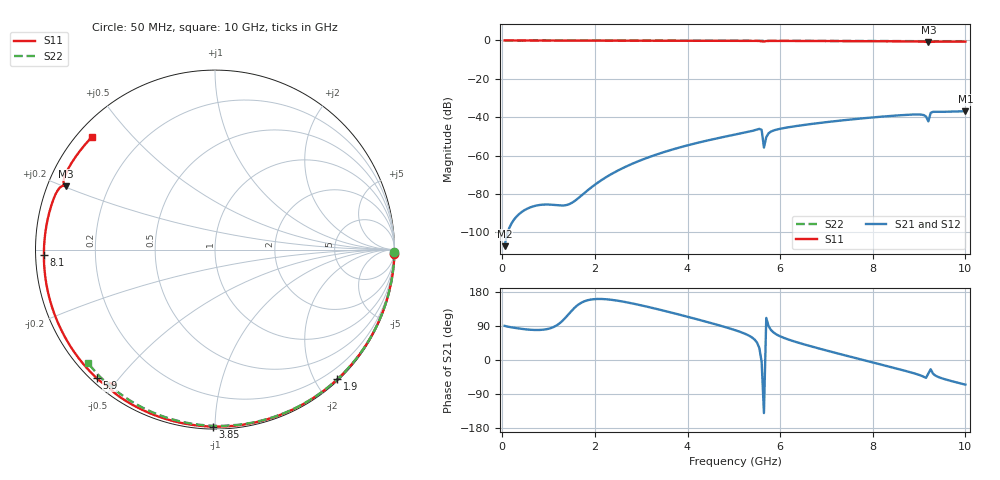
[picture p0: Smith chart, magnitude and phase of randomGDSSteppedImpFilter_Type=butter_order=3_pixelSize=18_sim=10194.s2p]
! freq	dB(S11)	phase(S11)	dB(S12)	phase(S12)
!  dB(S21)	phase(S21)	dB(S22)	phase(S22)
!S-par simulation data
#  GHz  S  DB  R 50
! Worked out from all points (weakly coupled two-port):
!   200 points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, 50 MHz to 10 GHz, reference 50 ohm
!   highest |S21| = -36.88 dB at 10 GHz (marker M1); lowest = -107.2 dB at 50 MHz (marker M2)
!   lowest |S11| = -0.9 dB at 9.2 GHz (marker M3), VSWR 19.46, Z = 2.68 + j10.1 ohm
!   |S11| at or under -10 dB: nowhere
!   |S22| runs from -0.5 to 0.0 dB; largest |S21 - S12| = 0
!   S11 on the Smith chart (normalised r, x): 50 MHz: 0, -90; 1.9 GHz: 0.02, -2.32; 3.85 GHz: 0.01, -0.99; 5.9 GHz: 0.02, -0.44; 8.1 GHz: 0.02, -0.02; 10 GHz: 0.04, +0.39
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0.05  -0.00 -1.3  -107.22 90.1  -107.22 90.1  -0.00 -0.8
0.85  -0.03 -21.2  -85.62 79.6  -85.62 79.6  -0.02 -13.5
1.75  -0.05 -43.1  -79.99 153.7  -79.99 153.7  -0.04 -27.6
1.9  -0.06 -46.7  -77.02 159.3  -77.02 159.3  -0.04 -29.9
2.55  -0.08 -61.9  -67.14 155.3  -67.14 155.3  -0.05 -39.8
3.4  -0.11 -81.0  -58.89 132.7  -58.89 132.7  -0.07 -52.5
3.85  -0.12 -90.8  -55.64 118.9  -55.64 118.9  -0.08 -59.0
5.05  -0.18 -116.0  -48.95 77.9  -48.95 77.9  -0.12 -75.9
5.6  -0.47 -128.4  -46.56 -4.6  -46.56 -4.6  -0.14 -83.4
5.65  -0.56 -127.0  -55.83 -140.1  -55.83 -140.1  -0.15 -84.0
5.7  -0.32 -127.8  -50.41 111.1  -50.41 111.1  -0.15 -84.7
5.75  -0.26 -129.2  -48.38 89.3  -48.38 89.3  -0.15 -85.3
5.9  -0.24 -132.6  -46.61 69.0  -46.61 69.0  -0.15 -87.3
6.7  -0.28 -149.1  -43.45 35.0  -43.45 35.0  -0.19 -97.8
8.1  -0.41 -178.2  -39.90 -9.6  -39.90 -9.6  -0.28 -115.3
8.35  -0.44 176.3  -39.41 -17.4  -39.41 -17.4  -0.30 -118.4
9.05  -0.56 159.7  -38.68 -41.5  -38.68 -41.5  -0.37 -126.9
9.15  -0.75 157.0  -39.65 -47.1  -39.65 -47.1  -0.38 -128.0
9.2  -0.89 157.0  -42.18 -35.9  -42.18 -35.9  -0.39 -128.6
9.25  -0.77 156.9  -37.78 -24.4  -37.78 -24.4  -0.39 -129.2
9.3  -0.67 155.7  -37.20 -36.0  -37.20 -36.0  -0.39 -129.8
10  -0.64 137.3  -36.88 -65.0  -36.88 -65.0  -0.46 -138.3
